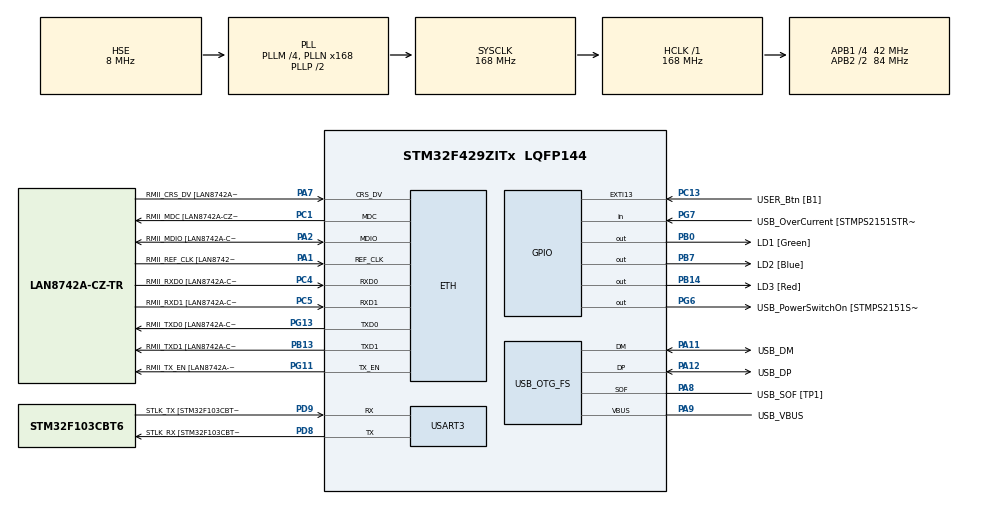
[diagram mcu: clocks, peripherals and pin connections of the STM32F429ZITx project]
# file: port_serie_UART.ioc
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Mcu.Family=STM32F4
RCC.CortexFreq_Value=168000000
PG6.Signal=GPIO_Output
PB14.GPIO_Label=LD3 [Red]
PG6.GPIO_Label=USB_PowerSwitchOn [STMPS2151STR_EN]
PA14.GPIO_Label=TCK
RCC.SYSCLKSourceVirtual=RCC_SYSCLKSOURCE_PLLCLK
PA11.Mode=Device_Only
PB0.GPIO_Label=LD1 [Green]
PC14/OSC32_IN.Mode=LSE-External-Oscillator
PC5.Mode=RMII
PC13.GPIO_Label=USER_Btn [B1]
PB13.GPIO_Label=RMII_TXD1 [LAN8742A-CZ-TR_TXD1]
PB13.Signal=ETH_TXD1
PG13.Signal=ETH_TXD0
PD9.Mode=Asynchronous
PG11.Signal=ETH_TX_EN
RCC.SYSCLKSource=RCC_SYSCLKSOURCE_PLLCLK
ProjectManager.StackSize=0x400
PA12.Signal=USB_OTG_FS_DP
ETH.PHY_Value=0
PH0/OSC_IN.Mode=HSE-External-Clock-Source
RCC.HCLKFreq_Value=168000000
RCC.APB2TimFreq_Value=168000000
PH1/OSC_OUT.Signal=RCC_OSC_OUT
PD8.Signal=USART3_TX
RCC.AHBFreq_Value=168000000
RCC.HSE_VALUE=8000000
RCC.PLLMUL=RCC_PLL_MUL9
PC4.GPIO_Label=RMII_RXD0 [LAN8742A-CZ-TR_RXD0]
PA14.Mode=Serial_Wire
PA10.GPIO_Label=USB_ID
PB7.Signal=GPIO_Output
PA8.Signal=USB_OTG_FS_SOF
PG13.Mode=RMII
ETH.PHY_Name=LAN8742A_PHY_ADDRESS
PH1/OSC_OUT.Mode=HSE-External-Clock-Source
PB7.GPIO_Label=LD2 [Blue]
Mcu.Package=LQFP144
PC14/OSC32_IN.Signal=RCC_OSC32_IN
PA2.GPIO_Label=RMII_MDIO [LAN8742A-CZ-TR_MDIO]
PA10.Signal=USB_OTG_FS_ID
USB_OTG_FS.VirtualMode=Device_Only
RCC.APB2CLKDivider=RCC_HCLK_DIV2
RCC.APB1TimFreq_Value=84000000
PG11.GPIO_Label=RMII_TX_EN [LAN8742A-CZ-TR_TXEN]
PC5.Signal=ETH_RXD1
PB13.Mode=RMII
PC4.Mode=RMII
PA7.Mode=RMII
PG7.Signal=GPIO_Input
PD9.GPIO_Label=STLK_TX [STM32F103CBT6_PA2]
PC13.Signal=GPXTI13
PA9.GPIO_Label=USB_VBUS
PC4.Signal=ETH_RXD0
PA11.GPIO_Label=USB_DM
PD9.Signal=USART3_RX
RCC.APB1CLKDivider=RCC_HCLK_DIV4
PG13.GPIO_Label=RMII_TXD0 [LAN8742A-CZ-TR_TXD0]
ETH.PhyAddress=0
PA12.GPIO_Label=USB_DP
PD8.GPIO_Label=STLK_RX [STM32F103CBT6_PA3]
PA13.Signal=SYS_JTMS-SWDIO
PA9.Mode=Activate_VBUS
PA8.GPIO_Label=USB_SOF [TP1]
ProjectManager.TargetToolchain=TrueSTUDIO
PA9.Signal=USB_OTG_FS_VBUS
RCC.USBFreq_Value=48000000
PD8.Mode=Asynchronous
PA1.Signal=ETH_REF_CLK
PB14.Signal=GPIO_Output
board=NUCLEO-F429ZI
RCC.VCOOutputFreq_Value=336000000
PH0/OSC_IN.Signal=RCC_OSC_IN
RCC.APB2Freq_Value=84000000
PA1.Mode=RMII
RCC.PRESCALERUSB=RCC_USBCLKSOURCE_PLL_DIV1_5
PG7.GPIO_Label=USB_OverCurrent [STMPS2151STR_FAULT]
PA1.GPIO_Label=RMII_REF_CLK [LAN8742A-CZ-TR_REFCLK0]
PC1.GPIO_Label=RMII_MDC [LAN8742A-CZ-TR_MDC]
PA13.Mode=Serial_Wire
Mcu.Name=STM32F429ZITx
PA2.Signal=ETH_MDIO
PA13.GPIO_Label=TMS
RCC.APB2TimCLKDivider=2
RCC.48MHZClocksFreq_Value=48000000
RCC.SYSCLKFreq_VALUE=168000000
ETH.MediaInterface=ETH_MEDIA_INTERFACE_RMII
PA7.GPIO_Label=RMII_CRS_DV [LAN8742A-CZ-TR_CRS_DV]
PA12.Mode=Device_Only
PC5.GPIO_Label=RMII_RXD1 [LAN8742A-CZ-TR_RXD1]
USART3.VirtualMode=VM_ASYNC
PC15/OSC32_OUT.Mode=LSE-External-Oscillator
PG11.Mode=RMII
PA11.Signal=USB_OTG_FS_DM
PA14.Signal=SYS_JTCK-SWCLK
ProjectManager.HeapSize=0x200
RCC.HSI_VALUE=16000000
PH0/OSC_IN.GPIO_Label=MCO [STM32F103CBT6_PA8]
RCC.PLLQ=7
NVIC.PriorityGroup=NVIC_PRIORITYGROUP_4
RCC.PLLM=4
RCC.PLLN=168
PA2.Mode=RMII
PC15/OSC32_OUT.Signal=RCC_OSC32_OUT
PA8.Mode=Activate_SOF_FS
RCC.APB1Freq_Value=42000000
PB0.Signal=GPIO_Output
PC1.Signal=ETH_MDC
PC1.Mode=RMII
PA7.Signal=ETH_CRS_DV

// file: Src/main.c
/* USER CODE BEGIN Header */
/**
  ******************************************************************************
  * @file           : main.c
  * @brief          : Main program body
  ******************************************************************************
  * @attention
  *
  * <h2><center>&copy; Copyright (c) 2020 STMicroelectronics.
  * All rights reserved.</center></h2>
  *
  * This software component is licensed by ST under BSD 3-Clause license,
  * the "License"; You may not use this file except in compliance with the
  * License. You may obtain a copy of the License at:
  *                        opensource.org/licenses/BSD-3-Clause
  *
  ******************************************************************************
  */
/* USER CODE END Header */

#include "main.h"
#include <string.h>

ETH_HandleTypeDef heth;

UART_HandleTypeDef huart3;

PCD_HandleTypeDef hpcd_USB_OTG_FS;

void SystemClock_Config(void);
static void MX_GPIO_Init(void);
static void MX_ETH_Init(void);
static void MX_USART3_UART_Init(void);
static void MX_USB_OTG_FS_PCD_Init(void);

int main(void)
{

  /* MCU Configuration--------------------------------------------------------*/

  /* Reset of all peripherals, Initializes the Flash interface and the Systick. */
  HAL_Init();

  /* Configure the system clock */
  SystemClock_Config();

  /* Initialize all configured peripherals */
  MX_GPIO_Init();
  MX_ETH_Init();
  MX_USART3_UART_Init();
  MX_USB_OTG_FS_PCD_Init();

  /* Infinite loop */
  /* USER CODE BEGIN WHILE */
  char msg[] = "dHello, World !\n";

  while (1)
  {
	  HAL_GPIO_WritePin(GPIOB, LD3_Pin, 1);
	  HAL_Delay(100);
	  HAL_GPIO_WritePin(GPIOB, LD3_Pin, 0);
	  HAL_GPIO_WritePin(GPIOB, LD2_Pin, 1);
	  HAL_Delay(100);
	  HAL_GPIO_WritePin(GPIOB, LD2_Pin, 0);
	  HAL_GPIO_WritePin(GPIOB, LD1_Pin, 1);
	  HAL_Delay(100);
	  HAL_GPIO_WritePin(GPIOB, LD1_Pin, 0);
	  HAL_GPIO_WritePin(GPIOB, LD2_Pin, 1);
	  HAL_Delay(100);
	  HAL_GPIO_WritePin(GPIOB, LD2_Pin, 0);
	  HAL_GPIO_WritePin(GPIOB, LD3_Pin, 1);
	  HAL_GPIO_WritePin(GPIOB, LD3_Pin, 0);
	  HAL_Delay(100);
	  HAL_GPIO_WritePin(GPIOB, LD3_Pin, 1);
	  HAL_GPIO_WritePin(GPIOB, LD2_Pin, 1);
	  HAL_GPIO_WritePin(GPIOB, LD1_Pin, 1);
	  HAL_Delay(100);
	  HAL_UART_Transmit(&huart3, (uint8_t*)msg, strlen(msg), 10);
	  HAL_GPIO_WritePin(GPIOB, LD3_Pin, 0);
	  HAL_GPIO_WritePin(GPIOB, LD2_Pin, 0);
	  HAL_GPIO_WritePin(GPIOB, LD1_Pin, 0);
	  HAL_Delay(1000);
    /* USER CODE END WHILE */

  }
}

void SystemClock_Config(void)
{
  RCC_OscInitTypeDef RCC_OscInitStruct = {0};
  RCC_ClkInitTypeDef RCC_ClkInitStruct = {0};

  /** Configure the main internal regulator output voltage
  */
  __HAL_RCC_PWR_CLK_ENABLE();
  __HAL_PWR_VOLTAGESCALING_CONFIG(PWR_REGULATOR_VOLTAGE_SCALE1);
  /** Initializes the CPU, AHB and APB busses clocks
  */
  RCC_OscInitStruct.OscillatorType = RCC_OSCILLATORTYPE_HSE;
  RCC_OscInitStruct.HSEState = RCC_HSE_BYPASS;
  RCC_OscInitStruct.PLL.PLLState = RCC_PLL_ON;
  RCC_OscInitStruct.PLL.PLLSource = RCC_PLLSOURCE_HSE;
  RCC_OscInitStruct.PLL.PLLM = 4;
  RCC_OscInitStruct.PLL.PLLN = 168;
  RCC_OscInitStruct.PLL.PLLP = RCC_PLLP_DIV2;
  RCC_OscInitStruct.PLL.PLLQ = 7;
  if (HAL_RCC_OscConfig(&RCC_OscInitStruct) != HAL_OK)
  {
    Error_Handler();
  }
  /** Initializes the CPU, AHB and APB busses clocks
  */
  RCC_ClkInitStruct.ClockType = RCC_CLOCKTYPE_HCLK|RCC_CLOCKTYPE_SYSCLK
                              |RCC_CLOCKTYPE_PCLK1|RCC_CLOCKTYPE_PCLK2;
  RCC_ClkInitStruct.SYSCLKSource = RCC_SYSCLKSOURCE_PLLCLK;
  RCC_ClkInitStruct.AHBCLKDivider = RCC_SYSCLK_DIV1;
  RCC_ClkInitStruct.APB1CLKDivider = RCC_HCLK_DIV4;
  RCC_ClkInitStruct.APB2CLKDivider = RCC_HCLK_DIV2;

  if (HAL_RCC_ClockConfig(&RCC_ClkInitStruct, FLASH_LATENCY_5) != HAL_OK)
  {
    Error_Handler();
  }
}

static void MX_ETH_Init(void)
{

  heth.Instance = ETH;
  heth.Init.AutoNegotiation = ETH_AUTONEGOTIATION_ENABLE;
  heth.Init.PhyAddress = LAN8742A_PHY_ADDRESS;
  heth.Init.MACAddr[0] =   0x00;
  heth.Init.MACAddr[1] =   0x80;
  heth.Init.MACAddr[2] =   0xE1;
  heth.Init.MACAddr[3] =   0x00;
  heth.Init.MACAddr[4] =   0x00;
  heth.Init.MACAddr[5] =   0x00;
  heth.Init.RxMode = ETH_RXPOLLING_MODE;
  heth.Init.ChecksumMode = ETH_CHECKSUM_BY_HARDWARE;
  heth.Init.MediaInterface = ETH_MEDIA_INTERFACE_RMII;

  if (HAL_ETH_Init(&heth) != HAL_OK)
  {
    Error_Handler();
  }

}

static void MX_USART3_UART_Init(void)
{

  huart3.Instance = USART3;
  huart3.Init.BaudRate = 115200;
  huart3.Init.WordLength = UART_WORDLENGTH_8B;
  huart3.Init.StopBits = UART_STOPBITS_1;
  huart3.Init.Parity = UART_PARITY_NONE;
  huart3.Init.Mode = UART_MODE_TX_RX;
  huart3.Init.HwFlowCtl = UART_HWCONTROL_NONE;
  huart3.Init.OverSampling = UART_OVERSAMPLING_16;
  if (HAL_UART_Init(&huart3) != HAL_OK)
  {
    Error_Handler();
  }

}

static void MX_USB_OTG_FS_PCD_Init(void)
{

  hpcd_USB_OTG_FS.Instance = USB_OTG_FS;
  hpcd_USB_OTG_FS.Init.dev_endpoints = 4;
  hpcd_USB_OTG_FS.Init.speed = PCD_SPEED_FULL;
  hpcd_USB_OTG_FS.Init.dma_enable = DISABLE;
  hpcd_USB_OTG_FS.Init.phy_itface = PCD_PHY_EMBEDDED;
  hpcd_USB_OTG_FS.Init.Sof_enable = ENABLE;
  hpcd_USB_OTG_FS.Init.low_power_enable = DISABLE;
  hpcd_USB_OTG_FS.Init.lpm_enable = DISABLE;
  hpcd_USB_OTG_FS.Init.vbus_sensing_enable = ENABLE;
  hpcd_USB_OTG_FS.Init.use_dedicated_ep1 = DISABLE;
  if (HAL_PCD_Init(&hpcd_USB_OTG_FS) != HAL_OK)
  {
    Error_Handler();
  }

}

static void MX_GPIO_Init(void)
{
  GPIO_InitTypeDef GPIO_InitStruct = {0};

  /* GPIO Ports Clock Enable */
  __HAL_RCC_GPIOC_CLK_ENABLE();
  __HAL_RCC_GPIOH_CLK_ENABLE();
  __HAL_RCC_GPIOA_CLK_ENABLE();
  __HAL_RCC_GPIOB_CLK_ENABLE();
  __HAL_RCC_GPIOD_CLK_ENABLE();
  __HAL_RCC_GPIOG_CLK_ENABLE();

  /*Configure GPIO pin Output Level */
  HAL_GPIO_WritePin(GPIOB, LD1_Pin|LD3_Pin|LD2_Pin, GPIO_PIN_RESET);

  /*Configure GPIO pin Output Level */
  HAL_GPIO_WritePin(USB_PowerSwitchOn_GPIO_Port, USB_PowerSwitchOn_Pin, GPIO_PIN_RESET);

  /*Configure GPIO pin : USER_Btn_Pin */
  GPIO_InitStruct.Pin = USER_Btn_Pin;
  GPIO_InitStruct.Mode = GPIO_MODE_IT_RISING;
  GPIO_InitStruct.Pull = GPIO_NOPULL;
  HAL_GPIO_Init(USER_Btn_GPIO_Port, &GPIO_InitStruct);

  /*Configure GPIO pins : LD1_Pin LD3_Pin LD2_Pin */
  GPIO_InitStruct.Pin = LD1_Pin|LD3_Pin|LD2_Pin;
  GPIO_InitStruct.Mode = GPIO_MODE_OUTPUT_PP;
  GPIO_InitStruct.Pull = GPIO_NOPULL;
  GPIO_InitStruct.Speed = GPIO_SPEED_FREQ_LOW;
  HAL_GPIO_Init(GPIOB, &GPIO_InitStruct);

  /*Configure GPIO pin : USB_PowerSwitchOn_Pin */
  GPIO_InitStruct.Pin = USB_PowerSwitchOn_Pin;
  GPIO_InitStruct.Mode = GPIO_MODE_OUTPUT_PP;
  GPIO_InitStruct.Pull = GPIO_NOPULL;
  GPIO_InitStruct.Speed = GPIO_SPEED_FREQ_LOW;
  HAL_GPIO_Init(USB_PowerSwitchOn_GPIO_Port, &GPIO_InitStruct);

  /*Configure GPIO pin : USB_OverCurrent_Pin */
  GPIO_InitStruct.Pin = USB_OverCurrent_Pin;
  GPIO_InitStruct.Mode = GPIO_MODE_INPUT;
  GPIO_InitStruct.Pull = GPIO_NOPULL;
  HAL_GPIO_Init(USB_OverCurrent_GPIO_Port, &GPIO_InitStruct);

}

void Error_Handler(void)
{
}

/************************ (C) COPYRIGHT STMicroelectronics *****END OF FILE****/
